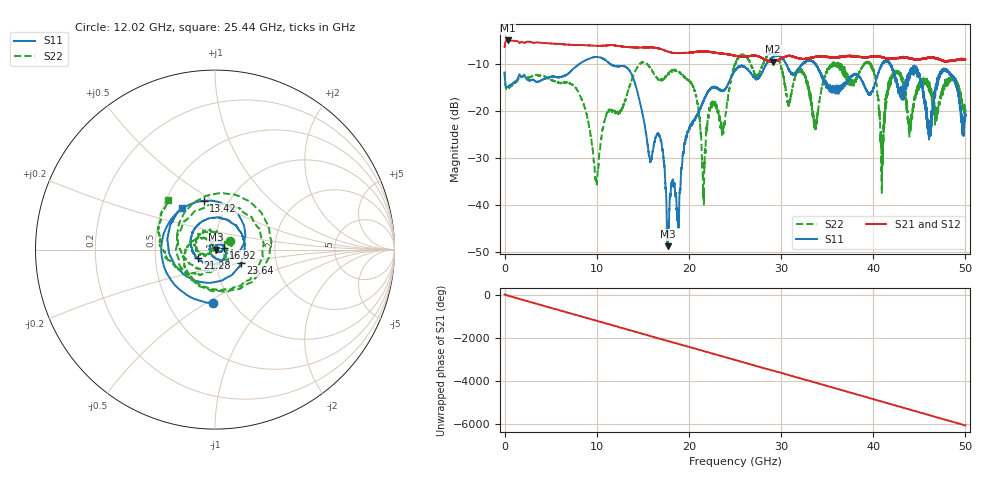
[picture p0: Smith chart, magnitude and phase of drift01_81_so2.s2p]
!Created with skrf (http://scikit-rf.org).
# Hz S RI R 50.0
!freq ReS11 ImS11 ReS21 ImS21 ReS12 ImS12 ReS22 ImS22
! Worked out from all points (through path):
!   10001 points, 300 kHz to 50 GHz, reference 50 ohm
!   highest |S21| = -5.05 dB at 325.3 MHz (marker M1); lowest = -9.6 dB at 29.14 GHz (marker M2)
!   group delay of S21, straight-line fit = 336 ps
!   lowest |S11| = -48.7 dB at 17.69 GHz (marker M3), VSWR 1.01, Z = 50.4 - j0.0779 ohm
!   |S11| at or under -10 dB: start of sweep to 8.151 GHz; 11.43 GHz to 28.42 GHz (16.99 GHz wide, 85.3 % of centre); 41.84 GHz to end of sweep (the widest 3 of 14)
!   |S22| runs from -40.0 to -7.6 dB; largest |S21 - S12| = 0.015
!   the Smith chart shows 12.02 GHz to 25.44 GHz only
!   S11 on the Smith chart (normalised r, x): 12.02 GHz: 0.82, -0.54; 13.42 GHz: 0.77, +0.45; 16.92 GHz: 1.10, +0.02; 21.28 GHz: 0.82, -0.08; 23.64 GHz: 1.32, -0.20; 25.44 GHz: 0.63, +0.32
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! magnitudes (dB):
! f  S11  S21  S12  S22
! 300 kHz  -11.9  -6.4  -6.5  -11.8
! 325.3 MHz  -14.9  -5.0  -5.0  -15.3
! 8.335 GHz  -9.7  -6.0  -6.0  -17.5
! 9.95 GHz  -8.5  -6.2  -6.2  -35.0
! 12.02 GHz  -10.5  -6.1  -6.1  -20.4
! 13.42 GHz  -11.1  -6.5  -6.5  -15.7
! 15.76 GHz  -30.1  -6.5  -6.5  -10.8
! 16.67 GHz  -24.8  -6.7  -6.7  -13.3
! 16.92 GHz  -26.0  -6.8  -6.8  -13.4
! 17.69 GHz  -48.7  -7.4  -7.4  -12.3
! 20.4 GHz  -22.6  -7.6  -7.6  -14.7
! 21.28 GHz  -19.5  -7.4  -7.4  -24.4
! 23.64 GHz  -15.7  -7.9  -7.8  -23.8
! 25 GHz  -11.4  -8.3  -8.3  -10.0
! 25.44 GHz  -10.6  -8.5  -8.5  -8.4
! 29.14 GHz  -8.5  -9.6  -9.5  -7.7
! 33.34 GHz  -9.4  -8.7  -8.7  -19.0
! 39.49 GHz  -16.3  -8.6  -8.6  -9.7
! 40.98 GHz  -9.9  -8.7  -8.7  -27.6
! 41.67 GHz  -9.4  -8.8  -8.9  -14.8
! 48.03 GHz  -11.7  -9.4  -9.4  -13.8
! 50 GHz  -21.0  -9.1  -9.0  -20.4
